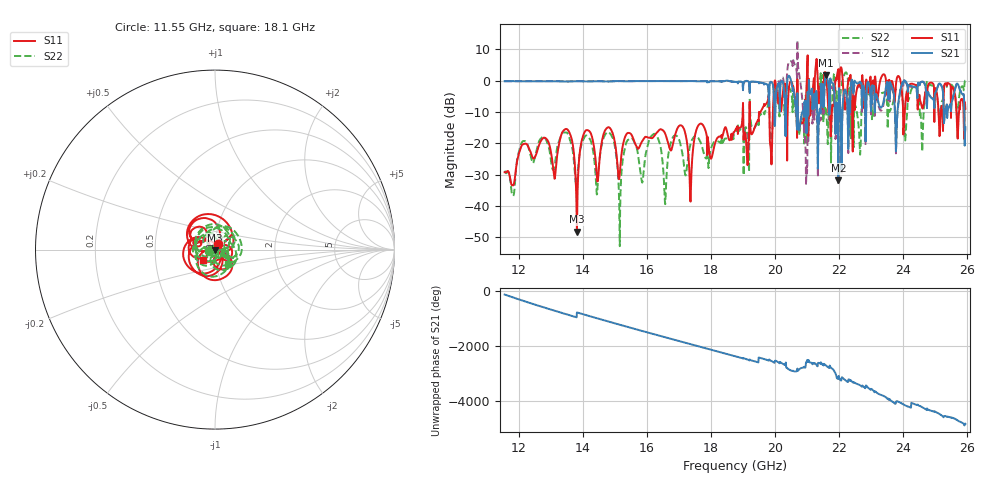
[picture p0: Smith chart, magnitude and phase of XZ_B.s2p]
!Keysight Technologies,N5242B,MY58421992,A.13.50.09
!Date: Tuesday, April 20, 2021 19:36:26
!Correction: S11(Full 2 Port(1,2))
!S21(Full 2 Port(1,2))
!S12(Full 2 Port(1,2))
!S22(Full 2 Port(1,2))
!S2P File: Measurements: S11, S21, S12, S22:
# Hz S  dB  R 50
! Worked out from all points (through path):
!   1441 points, 11.55 GHz to 25.95 GHz, reference 50 ohm
!   highest |S21| = 1.79 dB at 21.6 GHz (marker M1); lowest = -31.7 dB at 21.98 GHz (marker M2)
!   lowest |S11| = -48.2 dB at 13.81 GHz (marker M3), VSWR 1.01, Z = 50 - j0.39 ohm
!   |S11| at or under -10 dB: start of sweep to 18.99 GHz; 19.22 GHz to 19.5 GHz (283.3 MHz wide, 1.46 % of centre); 20.72 GHz to 20.93 GHz (213.1 MHz wide, 1.02 % of centre) (the widest 3 of 21)
!   |S22| runs from -52.8 to 2.7 dB; largest |S21 - S12| = 5
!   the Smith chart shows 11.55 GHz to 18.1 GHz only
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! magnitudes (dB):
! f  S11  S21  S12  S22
! 11.55 GHz  -29.2  -0.2  -0.1  -28.7
! 13.48 GHz  -15.4  -0.3  -0.2  -16.5
! 13.81 GHz  -48.2  -0.1  -0.1  -32.2
! 13.95 GHz  -19.6  -0.2  -0.2  -20.4
! 14.44 GHz  -31.3  -0.1  -0.1  -36.2
! 14.85 GHz  -15.2  -0.2  -0.2  -16.9
! 15.15 GHz  -29.5  -0.1  -0.1  -52.8
! 15.41 GHz  -16.6  -0.2  -0.2  -18.8
! 15.84 GHz  -19.4  -0.1  -0.1  -32.2
! 16.35 GHz  -16.0  -0.1  -0.1  -18.6
! 16.57 GHz  -16.9  -0.1  -0.1  -39.4
! 16.86 GHz  -18.0  -0.1  -0.1  -17.5
! 17.36 GHz  -38.6  -0.1  -0.1  -20.2
! 17.63 GHz  -13.9  -0.2  -0.2  -18.7
! 18.75 GHz  -16.0  -0.3  -0.4  -16.8
! 20.53 GHz  -0.6  -1.4  5.9  -5.4
! 20.97 GHz  -5.5  -16.7  -33.2  -10.5
! 21.15 GHz  -4.2  -3.7  -8.9  -10.0
! 21.6 GHz  1.2  1.8  -0.3  -9.3
! 21.98 GHz  3.7  -31.7  -33.2  -6.3
! 23.55 GHz  -3.1  -0.6  -1.5  -7.9
! 25.95 GHz  -9.0  -14.8  -14.8  0.0
